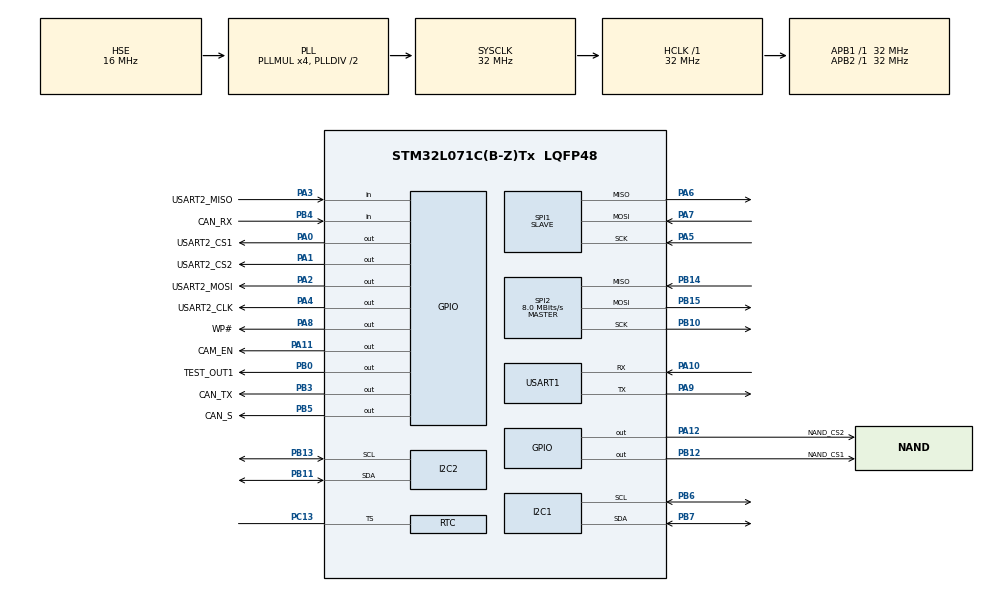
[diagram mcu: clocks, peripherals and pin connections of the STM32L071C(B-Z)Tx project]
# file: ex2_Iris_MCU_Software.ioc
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I2C1.Timing=0x00707CBB
I2C2.Timing=0x00707CBB
Mcu.Family=STM32L0
Mcu.Name=STM32L071C(B-Z)Tx
Mcu.Package=LQFP48
NVIC.RTC_IRQn=true\:0\:0\:false\:false\:true\:true\:true\:true
NVIC.SPI1_IRQn=true\:0\:0\:false\:false\:true\:true\:true\:true
PA0.GPIO_Label=USART2_CS1
PA0.GPIO_ModeDefaultOutputPP=GPIO_MODE_OUTPUT_PP
PA0.GPIO_PuPd=GPIO_PULLUP
PA0.GPIO_Speed=GPIO_SPEED_FREQ_VERY_HIGH
PA0.Signal=GPIO_Output
PA1.GPIO_Label=USART2_CS2
PA1.GPIO_ModeDefaultOutputPP=GPIO_MODE_OUTPUT_PP
PA1.GPIO_PuPd=GPIO_PULLUP
PA1.GPIO_Speed=GPIO_SPEED_FREQ_VERY_HIGH
PA1.Signal=GPIO_Output
PA10.Mode=Asynchronous
PA10.Signal=USART1_RX
PA11.GPIO_Label=CAM_EN
PA11.Signal=GPIO_Output
PA12.GPIO_Label=NAND_CS2
PA12.GPIO_ModeDefaultOutputPP=GPIO_MODE_OUTPUT_PP
PA12.GPIO_PuPd=GPIO_PULLUP
PA12.Signal=GPIO_Output
PA13.Mode=Serial_Wire
PA13.Signal=SYS_SWDIO
PA14.Mode=Serial_Wire
PA14.Signal=SYS_SWCLK
PA15.Signal=SPI1_NSS
PA2.GPIO_Label=USART2_MOSI
PA2.GPIO_ModeDefaultOutputPP=GPIO_MODE_OUTPUT_PP
PA2.GPIO_Speed=GPIO_SPEED_FREQ_VERY_HIGH
PA2.Signal=GPIO_Output
PA3.GPIO_Label=USART2_MISO
PA3.Signal=GPIO_Input
PA4.GPIO_Label=USART2_CLK
PA4.GPIO_ModeDefaultOutputPP=GPIO_MODE_OUTPUT_PP
PA4.GPIO_Speed=GPIO_SPEED_FREQ_VERY_HIGH
PA4.Signal=GPIO_Output
PA5.Mode=Full_Duplex_Slave
PA5.Signal=SPI1_SCK
PA6.Mode=Full_Duplex_Slave
PA6.Signal=SPI1_MISO
PA7.Mode=Full_Duplex_Slave
PA7.Signal=SPI1_MOSI
PA8.GPIO_Label=WP\#
PA8.GPIO_PuPd=GPIO_PULLUP
PA8.GPIO_Speed=GPIO_SPEED_FREQ_VERY_HIGH
PA8.Signal=GPIO_Output
PA9.Mode=Asynchronous
PA9.Signal=USART1_TX
PB0.GPIO_Label=TEST_OUT1
PB0.Signal=GPIO_Output
PB10.Mode=Full_Duplex_Master
PB10.Signal=SPI2_SCK
PB11.Mode=I2C
PB11.Signal=I2C2_SDA
PB12.GPIO_Label=NAND_CS1
PB12.GPIO_ModeDefaultOutputPP=GPIO_MODE_OUTPUT_PP
PB12.GPIO_PuPd=GPIO_PULLUP
PB12.Signal=GPIO_Output
PB13.Mode=I2C
PB13.Signal=I2C2_SCL
PB14.Mode=Full_Duplex_Master
PB14.Signal=SPI2_MISO
PB15.Mode=Full_Duplex_Master
PB15.Signal=SPI2_MOSI
PB3.GPIO_Label=CAN_TX
PB3.GPIO_PuPd=GPIO_PULLUP
PB3.GPIO_Speed=GPIO_SPEED_FREQ_VERY_HIGH
PB3.Signal=GPIO_Output
PB4.GPIO_Label=CAN_RX
PB4.Signal=GPIO_Input
PB5.GPIO_Label=CAN_S
PB5.Signal=GPIO_Output
PB6.Mode=I2C
PB6.Signal=I2C1_SCL
PB7.Mode=I2C
PB7.Signal=I2C1_SDA
PC13.Mode=Timestamp enabled
PC13.Signal=RTC_TS
PC14-OSC32_IN.Mode=LSE-External-Oscillator
PC14-OSC32_IN.Signal=RCC_OSC32_IN
PC15-OSC32_OUT.Mode=LSE-External-Oscillator
PC15-OSC32_OUT.Signal=RCC_OSC32_OUT
PH0-OSC_IN.Mode=HSE-External-Clock-Source
PH0-OSC_IN.Signal=RCC_OSC_IN
ProjectManager.HeapSize=0x200
ProjectManager.StackSize=0x400
ProjectManager.TargetToolchain=STM32CubeIDE
RCC.AHBFreq_Value=32000000
RCC.APB1Freq_Value=32000000
RCC.APB1TimFreq_Value=32000000
RCC.APB2Freq_Value=32000000
RCC.APB2TimFreq_Value=32000000
RCC.HCLKFreq_Value=32000000
RCC.HSE_VALUE=16000000
RCC.HSI16_VALUE=16000000
RCC.HSI_VALUE=16000000
RCC.MSI_VALUE=2097000
RCC.PLLMUL=RCC_PLLMUL_4
RCC.PLLSourceVirtual=RCC_PLLSOURCE_HSE
RCC.SYSCLKFreq_VALUE=32000000
RCC.SYSCLKSource=RCC_SYSCLKSOURCE_PLLCLK
RCC.VCOOutputFreq_Value=64000000
SPI1.CLKPhase=SPI_PHASE_2EDGE
SPI1.Direction=SPI_DIRECTION_2LINES
SPI1.Mode=SPI_MODE_SLAVE
SPI1.VirtualType=VM_SLAVE
SPI2.BaudRatePrescaler=SPI_BAUDRATEPRESCALER_4
SPI2.CalculateBaudRate=8.0 MBits/s
SPI2.Direction=SPI_DIRECTION_2LINES
SPI2.Mode=SPI_MODE_MASTER
SPI2.VirtualType=VM_MASTER
TIM2.Prescaler=0
USART1.VirtualMode-Asynchronous=VM_ASYNC
VP_CRC_VS_CRC.Mode=CRC_Activate
VP_RTC_VS_RTC_Activate.Mode=RTC_Enabled
VP_RTC_VS_RTC_Calendar.Mode=RTC_Calendar
VP_TIM2_VS_ClockSourceINT.Mode=Internal
VP_TIM3_VS_ClockSourceINT.Mode=Internal
board=custom

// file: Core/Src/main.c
/* USER CODE BEGIN Header */
/**
 ******************************************************************************
 * @file           : main.c
 * @brief          : Main program body
 ******************************************************************************
 * @attention
 *
 * Copyright (c) 2022 STMicroelectronics.
 * All rights reserved.
 *
 * This software is licensed under terms that can be found in the LICENSE file
 * in the root directory of this software component.
 * If no LICENSE file comes with this software, it is provided AS-IS.
 *
 ******************************************************************************
 */

/* USER CODE END Header */
#include "main.h"

/* USER CODE BEGIN Includes */
#include <stdio.h>
#include <stdbool.h>
#include <string.h>

#include "iris_system.h"
#include "arducam.h"
#include "spi_bitbang.h"
#include "IEB_TESTS.h"
#include "nandfs.h"
#include "flash_cmds.h"
#include "can.h"
#include "obc_handler.h"
#include "command_handler.h"
#include "housekeeping.h"
#include "tmp421.h"
#include "microtar.h"
#include "spi_obc.h"
#include "logger.h"

/* USER CODE END Includes */

/* USER CODE BEGIN PD */

int format = JPEG;
int width = 2592;

/* USER CODE END PD */

 CRC_HandleTypeDef hcrc;

I2C_HandleTypeDef hi2c1;
I2C_HandleTypeDef hi2c2;

RTC_HandleTypeDef hrtc;

SPI_HandleTypeDef hspi1;
SPI_HandleTypeDef hspi2;

TIM_HandleTypeDef htim2;
TIM_HandleTypeDef htim3;

UART_HandleTypeDef huart1;

void SystemClock_Config(void);
static void MX_GPIO_Init(void);
static void MX_I2C1_Init(void);
static void MX_I2C2_Init(void);
static void MX_SPI1_Init(void);
static void MX_SPI2_Init(void);
static void MX_USART1_UART_Init(void);
static void MX_TIM2_Init(void);
static void MX_CRC_Init(void);
static void MX_RTC_Init(void);
static void MX_TIM3_Init(void);
/* USER CODE BEGIN PFP */
static void onboot_commands(void);
/* USER CODE END PFP */

/* USER CODE BEGIN 0 */

enum {
    IDLE,
    LISTENING,
    HANDLE_COMMAND,
    FINISH,
} iris_state;

enum {
    idle,
    receiving,
} uart_state;

uint8_t spi_int_flag = 0;
/* For future failure recovery mode */
uint8_t can_bus_receive_flag = 0; // Needs to be set in can RX callback
uint8_t i2c_bus_receive_flag = 0; // Needs to be set in i2c RX callback

uint8_t uart_state = receiving;
/* USER CODE END 0 */

int main(void)
{

  /* MCU Configuration--------------------------------------------------------*/

  /* Reset of all peripherals, Initializes the Flash interface and the Systick. */
  HAL_Init();

  /* Configure the system clock */
  SystemClock_Config();

  /* Initialize all configured peripherals */
  MX_GPIO_Init();
  MX_I2C1_Init();
  MX_I2C2_Init();
  MX_SPI1_Init();
  MX_SPI2_Init();
  MX_USART1_UART_Init();
  MX_TIM2_Init();
  MX_CRC_Init();
  MX_RTC_Init();
  MX_TIM3_Init();
  /* USER CODE BEGIN 2 */

    onboot_commands();
  /* USER CODE END 2 */

  /* Infinite loop */
  /* USER CODE BEGIN WHILE */

#ifdef SPI_HANDLER
    send_obc_reset_cmd_to_eps();//temp
    /******************************************************************************
     *                      		SPI HANDLER
     *****************************************************************************/
    uint8_t obc_cmd;
    iris_state = LISTENING;
    int ret = 0;

    while (1) {
    /* USER CODE END WHILE */

    /* USER CODE BEGIN 3 */
    	check_obc_watchdog();
        switch (iris_state) {
        case IDLE:
            if (spi_int_flag != 0) {
                iris_state = HANDLE_COMMAND;
                spi_int_flag = 0;
            } else if (can_bus_receive_flag != 0) {
                // Placeholder for future failure mode recovery
            } else if (i2c_bus_receive_flag != 0) {
                // Placeholder for future failure mode recovery
            }
            break;
        case LISTENING:
            iris_state = IDLE;
            obc_spi_receive(&obc_cmd, 1);
            break;
        case HANDLE_COMMAND:
            ret = obc_verify_command(obc_cmd);
            if (ret != -1) {
                ret = obc_handle_command(obc_cmd);
            }
            iris_state = FINISH;
            break;
        case FINISH:
            iris_state = LISTENING;
            break;
        }
    }
#endif // SPI_HANDLER

/******************************************************************************
 *                      		UART HANDLER
 *****************************************************************************/
#ifdef UART_HANDLER
    char cmd[64];
    char buf[64];
    char *ptr = cmd;
    int ret = 0;

    uart_state = idle;
    while (1) {
        switch (uart_state) {
        case idle:
            iris_log("\r:>> ");
            uart_state = receiving;
            break;
        case receiving:;
            HAL_StatusTypeDef rc = HAL_UART_Receive(&huart1, (uint8_t *)ptr, 1, 20000);
            /* USER CODE END WHILE */

            /* USER CODE BEGIN 3 */
            /* Build up the command one byte at a time */
            if (rc != HAL_OK) {
                if (rc != HAL_TIMEOUT) {
                    sprintf(buf, "UART read error: %x\r\n", rc);
                    iris_log(buf);
                }
                continue;
            }
            /* Command is complete when we get EOL of some sort */
            if (*ptr == '\n' || *ptr == '\r') {
                *ptr = 0;
                iris_log("\r\n");
                uart_handle_command(cmd);
                ptr = cmd;
                uart_state = idle;

            } else {
                *(ptr + 1) = 0;
                iris_log(ptr);

                if (*ptr == 0x7f) { // handle backspace
                    if (ptr > cmd)
                        --ptr;
                } else
                    ++ptr;
            }
            break;
        }
    }
#endif // UART_HANDLER
  /* USER CODE END 3 */
}

void SystemClock_Config(void)
{
  RCC_OscInitTypeDef RCC_OscInitStruct = {0};
  RCC_ClkInitTypeDef RCC_ClkInitStruct = {0};
  RCC_PeriphCLKInitTypeDef PeriphClkInit = {0};

  /** Configure the main internal regulator output voltage
  */
  __HAL_PWR_VOLTAGESCALING_CONFIG(PWR_REGULATOR_VOLTAGE_SCALE1);

  /** Initializes the RCC Oscillators according to the specified parameters
  * in the RCC_OscInitTypeDef structure.
  */
  RCC_OscInitStruct.OscillatorType = RCC_OSCILLATORTYPE_LSI|RCC_OSCILLATORTYPE_HSE;
  RCC_OscInitStruct.HSEState = RCC_HSE_BYPASS;
  RCC_OscInitStruct.LSIState = RCC_LSI_ON;
  RCC_OscInitStruct.PLL.PLLState = RCC_PLL_ON;
  RCC_OscInitStruct.PLL.PLLSource = RCC_PLLSOURCE_HSE;
  RCC_OscInitStruct.PLL.PLLMUL = RCC_PLLMUL_4;
  RCC_OscInitStruct.PLL.PLLDIV = RCC_PLLDIV_2;
  if (HAL_RCC_OscConfig(&RCC_OscInitStruct) != HAL_OK)
  {
    Error_Handler();
  }

  /** Initializes the CPU, AHB and APB buses clocks
  */
  RCC_ClkInitStruct.ClockType = RCC_CLOCKTYPE_HCLK|RCC_CLOCKTYPE_SYSCLK
                              |RCC_CLOCKTYPE_PCLK1|RCC_CLOCKTYPE_PCLK2;
  RCC_ClkInitStruct.SYSCLKSource = RCC_SYSCLKSOURCE_PLLCLK;
  RCC_ClkInitStruct.AHBCLKDivider = RCC_SYSCLK_DIV1;
  RCC_ClkInitStruct.APB1CLKDivider = RCC_HCLK_DIV1;
  RCC_ClkInitStruct.APB2CLKDivider = RCC_HCLK_DIV1;

  if (HAL_RCC_ClockConfig(&RCC_ClkInitStruct, FLASH_LATENCY_1) != HAL_OK)
  {
    Error_Handler();
  }
  PeriphClkInit.PeriphClockSelection = RCC_PERIPHCLK_USART1|RCC_PERIPHCLK_I2C1
                              |RCC_PERIPHCLK_RTC;
  PeriphClkInit.Usart1ClockSelection = RCC_USART1CLKSOURCE_PCLK2;
  PeriphClkInit.I2c1ClockSelection = RCC_I2C1CLKSOURCE_PCLK1;
  PeriphClkInit.RTCClockSelection = RCC_RTCCLKSOURCE_LSI;
  if (HAL_RCCEx_PeriphCLKConfig(&PeriphClkInit) != HAL_OK)
  {
    Error_Handler();
  }
}

static void MX_CRC_Init(void)
{

  hcrc.Instance = CRC;
  hcrc.Init.DefaultPolynomialUse = DEFAULT_POLYNOMIAL_ENABLE;
  hcrc.Init.DefaultInitValueUse = DEFAULT_INIT_VALUE_ENABLE;
  hcrc.Init.InputDataInversionMode = CRC_INPUTDATA_INVERSION_NONE;
  hcrc.Init.OutputDataInversionMode = CRC_OUTPUTDATA_INVERSION_DISABLE;
  hcrc.InputDataFormat = CRC_INPUTDATA_FORMAT_BYTES;
  if (HAL_CRC_Init(&hcrc) != HAL_OK)
  {
    Error_Handler();
  }

}

static void MX_I2C1_Init(void)
{

  hi2c1.Instance = I2C1;
  hi2c1.Init.Timing = 0x00707CBB;
  hi2c1.Init.OwnAddress1 = 0;
  hi2c1.Init.AddressingMode = I2C_ADDRESSINGMODE_7BIT;
  hi2c1.Init.DualAddressMode = I2C_DUALADDRESS_DISABLE;
  hi2c1.Init.OwnAddress2 = 0;
  hi2c1.Init.OwnAddress2Masks = I2C_OA2_NOMASK;
  hi2c1.Init.GeneralCallMode = I2C_GENERALCALL_DISABLE;
  hi2c1.Init.NoStretchMode = I2C_NOSTRETCH_DISABLE;
  if (HAL_I2C_Init(&hi2c1) != HAL_OK)
  {
    Error_Handler();
  }

  /** Configure Analogue filter
  */
  if (HAL_I2CEx_ConfigAnalogFilter(&hi2c1, I2C_ANALOGFILTER_ENABLE) != HAL_OK)
  {
    Error_Handler();
  }

  /** Configure Digital filter
  */
  if (HAL_I2CEx_ConfigDigitalFilter(&hi2c1, 0) != HAL_OK)
  {
    Error_Handler();
  }

}

static void MX_I2C2_Init(void)
{

  hi2c2.Instance = I2C2;
  hi2c2.Init.Timing = 0x00707CBB;
  hi2c2.Init.OwnAddress1 = 0;
  hi2c2.Init.AddressingMode = I2C_ADDRESSINGMODE_7BIT;
  hi2c2.Init.DualAddressMode = I2C_DUALADDRESS_DISABLE;
  hi2c2.Init.OwnAddress2 = 0;
  hi2c2.Init.OwnAddress2Masks = I2C_OA2_NOMASK;
  hi2c2.Init.GeneralCallMode = I2C_GENERALCALL_DISABLE;
  hi2c2.Init.NoStretchMode = I2C_NOSTRETCH_DISABLE;
  if (HAL_I2C_Init(&hi2c2) != HAL_OK)
  {
    Error_Handler();
  }

  /** Configure Analogue filter
  */
  if (HAL_I2CEx_ConfigAnalogFilter(&hi2c2, I2C_ANALOGFILTER_ENABLE) != HAL_OK)
  {
    Error_Handler();
  }

  /** Configure Digital filter
  */
  if (HAL_I2CEx_ConfigDigitalFilter(&hi2c2, 0) != HAL_OK)
  {
    Error_Handler();
  }

}

static void MX_RTC_Init(void)
{

  RTC_TimeTypeDef sTime = {0};
  RTC_DateTypeDef sDate = {0};

  /** Initialize RTC Only
  */
  hrtc.Instance = RTC;
  hrtc.Init.HourFormat = RTC_HOURFORMAT_24;
  hrtc.Init.AsynchPrediv = 127;
  hrtc.Init.SynchPrediv = 255;
  hrtc.Init.OutPut = RTC_OUTPUT_DISABLE;
  hrtc.Init.OutPutRemap = RTC_OUTPUT_REMAP_NONE;
  hrtc.Init.OutPutPolarity = RTC_OUTPUT_POLARITY_HIGH;
  hrtc.Init.OutPutType = RTC_OUTPUT_TYPE_OPENDRAIN;
  if (HAL_RTC_Init(&hrtc) != HAL_OK)
  {
    Error_Handler();
  }

  /** Initialize RTC and set the Time and Date
  */
  sTime.Hours = 0x0;
  sTime.Minutes = 0x0;
  sTime.Seconds = 0x0;
  sTime.DayLightSaving = RTC_DAYLIGHTSAVING_NONE;
  sTime.StoreOperation = RTC_STOREOPERATION_RESET;
  if (HAL_RTC_SetTime(&hrtc, &sTime, RTC_FORMAT_BCD) != HAL_OK)
  {
    Error_Handler();
  }
  sDate.WeekDay = RTC_WEEKDAY_MONDAY;
  sDate.Month = RTC_MONTH_JANUARY;
  sDate.Date = 0x1;
  sDate.Year = 0x0;

  if (HAL_RTC_SetDate(&hrtc, &sDate, RTC_FORMAT_BCD) != HAL_OK)
  {
    Error_Handler();
  }

  /** Enable the TimeStamp
  */
  if (HAL_RTCEx_SetTimeStamp_IT(&hrtc, RTC_TIMESTAMPEDGE_RISING, RTC_TIMESTAMPPIN_DEFAULT) != HAL_OK)
  {
    Error_Handler();
  }

}

static void MX_SPI1_Init(void)
{

  /* SPI1 parameter configuration*/
  hspi1.Instance = SPI1;
  hspi1.Init.Mode = SPI_MODE_SLAVE;
  hspi1.Init.Direction = SPI_DIRECTION_2LINES;
  hspi1.Init.DataSize = SPI_DATASIZE_8BIT;
  hspi1.Init.CLKPolarity = SPI_POLARITY_LOW;
  hspi1.Init.CLKPhase = SPI_PHASE_2EDGE;
  hspi1.Init.NSS = SPI_NSS_SOFT;
  hspi1.Init.FirstBit = SPI_FIRSTBIT_MSB;
  hspi1.Init.TIMode = SPI_TIMODE_DISABLE;
  hspi1.Init.CRCCalculation = SPI_CRCCALCULATION_DISABLE;
  hspi1.Init.CRCPolynomial = 7;
  if (HAL_SPI_Init(&hspi1) != HAL_OK)
  {
    Error_Handler();
  }

}

static void MX_SPI2_Init(void)
{

  /* SPI2 parameter configuration*/
  hspi2.Instance = SPI2;
  hspi2.Init.Mode = SPI_MODE_MASTER;
  hspi2.Init.Direction = SPI_DIRECTION_2LINES;
  hspi2.Init.DataSize = SPI_DATASIZE_8BIT;
  hspi2.Init.CLKPolarity = SPI_POLARITY_LOW;
  hspi2.Init.CLKPhase = SPI_PHASE_1EDGE;
  hspi2.Init.NSS = SPI_NSS_SOFT;
  hspi2.Init.BaudRatePrescaler = SPI_BAUDRATEPRESCALER_4;
  hspi2.Init.FirstBit = SPI_FIRSTBIT_MSB;
  hspi2.Init.TIMode = SPI_TIMODE_DISABLE;
  hspi2.Init.CRCCalculation = SPI_CRCCALCULATION_DISABLE;
  hspi2.Init.CRCPolynomial = 7;
  if (HAL_SPI_Init(&hspi2) != HAL_OK)
  {
    Error_Handler();
  }

}

static void MX_TIM2_Init(void)
{

  TIM_ClockConfigTypeDef sClockSourceConfig = {0};
  TIM_MasterConfigTypeDef sMasterConfig = {0};

  htim2.Instance = TIM2;
  htim2.Init.Prescaler = 0;
  htim2.Init.CounterMode = TIM_COUNTERMODE_UP;
  htim2.Init.Period = 65535;
  htim2.Init.ClockDivision = TIM_CLOCKDIVISION_DIV1;
  htim2.Init.AutoReloadPreload = TIM_AUTORELOAD_PRELOAD_DISABLE;
  if (HAL_TIM_Base_Init(&htim2) != HAL_OK)
  {
    Error_Handler();
  }
  sClockSourceConfig.ClockSource = TIM_CLOCKSOURCE_INTERNAL;
  if (HAL_TIM_ConfigClockSource(&htim2, &sClockSourceConfig) != HAL_OK)
  {
    Error_Handler();
  }
  sMasterConfig.MasterOutputTrigger = TIM_TRGO_RESET;
  sMasterConfig.MasterSlaveMode = TIM_MASTERSLAVEMODE_DISABLE;
  if (HAL_TIMEx_MasterConfigSynchronization(&htim2, &sMasterConfig) != HAL_OK)
  {
    Error_Handler();
  }

}

static void MX_TIM3_Init(void)
{

  TIM_ClockConfigTypeDef sClockSourceConfig = {0};
  TIM_MasterConfigTypeDef sMasterConfig = {0};

  htim3.Instance = TIM3;
  htim3.Init.Prescaler = 0;
  htim3.Init.CounterMode = TIM_COUNTERMODE_UP;
  htim3.Init.Period = 65535;
  htim3.Init.ClockDivision = TIM_CLOCKDIVISION_DIV1;
  htim3.Init.AutoReloadPreload = TIM_AUTORELOAD_PRELOAD_DISABLE;
  if (HAL_TIM_Base_Init(&htim3) != HAL_OK)
  {
    Error_Handler();
  }
  sClockSourceConfig.ClockSource = TIM_CLOCKSOURCE_INTERNAL;
  if (HAL_TIM_ConfigClockSource(&htim3, &sClockSourceConfig) != HAL_OK)
  {
    Error_Handler();
  }
  sMasterConfig.MasterOutputTrigger = TIM_TRGO_RESET;
  sMasterConfig.MasterSlaveMode = TIM_MASTERSLAVEMODE_DISABLE;
  if (HAL_TIMEx_MasterConfigSynchronization(&htim3, &sMasterConfig) != HAL_OK)
  {
    Error_Handler();
  }

}

static void MX_USART1_UART_Init(void)
{

  huart1.Instance = USART1;
  huart1.Init.BaudRate = 115200;
  huart1.Init.WordLength = UART_WORDLENGTH_8B;
  huart1.Init.StopBits = UART_STOPBITS_1;
  huart1.Init.Parity = UART_PARITY_NONE;
  huart1.Init.Mode = UART_MODE_TX_RX;
  huart1.Init.HwFlowCtl = UART_HWCONTROL_NONE;
  huart1.Init.OverSampling = UART_OVERSAMPLING_16;
  huart1.Init.OneBitSampling = UART_ONE_BIT_SAMPLE_DISABLE;
  huart1.AdvancedInit.AdvFeatureInit = UART_ADVFEATURE_NO_INIT;
  if (HAL_UART_Init(&huart1) != HAL_OK)
  {
    Error_Handler();
  }

}

static void MX_GPIO_Init(void)
{
  GPIO_InitTypeDef GPIO_InitStruct = {0};

  /* GPIO Ports Clock Enable */
  __HAL_RCC_GPIOC_CLK_ENABLE();
  __HAL_RCC_GPIOH_CLK_ENABLE();
  __HAL_RCC_GPIOA_CLK_ENABLE();
  __HAL_RCC_GPIOB_CLK_ENABLE();

  /*Configure GPIO pin Output Level */
  HAL_GPIO_WritePin(GPIOA, USART2_CS1_Pin|USART2_CS2_Pin|USART2_MOSI_Pin|USART2_CLK_Pin
                          |WP__Pin|CAM_EN_Pin|NAND_CS2_Pin, GPIO_PIN_RESET);

  /*Configure GPIO pin Output Level */
  HAL_GPIO_WritePin(GPIOB, TEST_OUT1_Pin|NAND_CS1_Pin|CAN_TX_Pin|CAN_S_Pin, GPIO_PIN_RESET);

  /*Configure GPIO pins : USART2_CS1_Pin USART2_CS2_Pin WP__Pin */
  GPIO_InitStruct.Pin = USART2_CS1_Pin|USART2_CS2_Pin|WP__Pin;
  GPIO_InitStruct.Mode = GPIO_MODE_OUTPUT_PP;
  GPIO_InitStruct.Pull = GPIO_PULLUP;
  GPIO_InitStruct.Speed = GPIO_SPEED_FREQ_VERY_HIGH;
  HAL_GPIO_Init(GPIOA, &GPIO_InitStruct);

  /*Configure GPIO pins : USART2_MOSI_Pin USART2_CLK_Pin */
  GPIO_InitStruct.Pin = USART2_MOSI_Pin|USART2_CLK_Pin;
  GPIO_InitStruct.Mode = GPIO_MODE_OUTPUT_PP;
  GPIO_InitStruct.Pull = GPIO_NOPULL;
  GPIO_InitStruct.Speed = GPIO_SPEED_FREQ_VERY_HIGH;
  HAL_GPIO_Init(GPIOA, &GPIO_InitStruct);

  /*Configure GPIO pin : USART2_MISO_Pin */
  GPIO_InitStruct.Pin = USART2_MISO_Pin;
  GPIO_InitStruct.Mode = GPIO_MODE_INPUT;
  GPIO_InitStruct.Pull = GPIO_NOPULL;
  HAL_GPIO_Init(USART2_MISO_GPIO_Port, &GPIO_InitStruct);

  /*Configure GPIO pins : TEST_OUT1_Pin CAN_S_Pin */
  GPIO_InitStruct.Pin = TEST_OUT1_Pin|CAN_S_Pin;
  GPIO_InitStruct.Mode = GPIO_MODE_OUTPUT_PP;
  GPIO_InitStruct.Pull = GPIO_NOPULL;
  GPIO_InitStruct.Speed = GPIO_SPEED_FREQ_LOW;
  HAL_GPIO_Init(GPIOB, &GPIO_InitStruct);

  /*Configure GPIO pin : NAND_CS1_Pin */
  GPIO_InitStruct.Pin = NAND_CS1_Pin;
  GPIO_InitStruct.Mode = GPIO_MODE_OUTPUT_PP;
  GPIO_InitStruct.Pull = GPIO_PULLUP;
  GPIO_InitStruct.Speed = GPIO_SPEED_FREQ_LOW;
  HAL_GPIO_Init(NAND_CS1_GPIO_Port, &GPIO_InitStruct);

  /*Configure GPIO pin : CAM_EN_Pin */
  GPIO_InitStruct.Pin = CAM_EN_Pin;
  GPIO_InitStruct.Mode = GPIO_MODE_OUTPUT_PP;
  GPIO_InitStruct.Pull = GPIO_NOPULL;
  GPIO_InitStruct.Speed = GPIO_SPEED_FREQ_LOW;
  HAL_GPIO_Init(CAM_EN_GPIO_Port, &GPIO_InitStruct);

  /*Configure GPIO pin : NAND_CS2_Pin */
  GPIO_InitStruct.Pin = NAND_CS2_Pin;
  GPIO_InitStruct.Mode = GPIO_MODE_OUTPUT_PP;
  GPIO_InitStruct.Pull = GPIO_PULLUP;
  GPIO_InitStruct.Speed = GPIO_SPEED_FREQ_LOW;
  HAL_GPIO_Init(NAND_CS2_GPIO_Port, &GPIO_InitStruct);

  /*Configure GPIO pin : CAN_TX_Pin */
  GPIO_InitStruct.Pin = CAN_TX_Pin;
  GPIO_InitStruct.Mode = GPIO_MODE_OUTPUT_PP;
  GPIO_InitStruct.Pull = GPIO_PULLUP;
  GPIO_InitStruct.Speed = GPIO_SPEED_FREQ_VERY_HIGH;
  HAL_GPIO_Init(CAN_TX_GPIO_Port, &GPIO_InitStruct);

  /*Configure GPIO pin : CAN_RX_Pin */
  GPIO_InitStruct.Pin = CAN_RX_Pin;
  GPIO_InitStruct.Mode = GPIO_MODE_INPUT;
  GPIO_InitStruct.Pull = GPIO_NOPULL;
  HAL_GPIO_Init(CAN_RX_GPIO_Port, &GPIO_InitStruct);

}

/* USER CODE BEGIN 4 */
void HAL_SPI_RxCpltCallback(SPI_HandleTypeDef *hspi) {
    // Flag is set whenever OBC wants to communicate
    if (iris_state != HANDLE_COMMAND) {
        spi_int_flag = 1;
    } else {
        spi_int_flag = 0;
    }
}

static void init_filesystem() {
    iris_log("Initializing file system\r\n");
    NAND_SPI_Init(&hspi2);
    NANDfs_init();

    logger_create();
    store_file_infos_in_buffer();
}

static void onboot_commands(void) {

#ifdef SPI_HANDLER
#ifndef DEBUG_OUTPUT
    GPIO_InitTypeDef GPIO_InitStruct = {0};
    /*Configure GPIO pin */
    GPIO_InitStruct.Pin = ERR_Pin;
    GPIO_InitStruct.Mode = GPIO_MODE_OUTPUT_PP;
    GPIO_InitStruct.Pull = GPIO_PULLDOWN;
    GPIO_InitStruct.Speed = GPIO_SPEED_FREQ_LOW;
    HAL_GPIO_Init(ERR_GPIO_Port, &GPIO_InitStruct);
    ERR_GPIO_Port->BSRR = ERR_Pin;

    GPIO_InitStruct.Pin = WDI_Pin;
    GPIO_InitStruct.Mode = GPIO_MODE_INPUT;
    GPIO_InitStruct.Pull = GPIO_NOPULL;
    GPIO_InitStruct.Speed = GPIO_SPEED_FREQ_LOW;
    HAL_GPIO_Init(ERR_GPIO_Port, &GPIO_InitStruct);
    ERR_GPIO_Port->BSRR = WDI_Pin;

#endif
#endif

    HAL_TIM_Base_Start(&htim2);
    HAL_TIM_Base_Start(&htim3);
	__HAL_TIM_SET_COUNTER(&htim3, 0);

    init_filesystem();

#ifdef CURRENTSENSE_5V
    init_ina209(CURRENTSENSE_5V);
#endif // CURRENTSENSE_5V
    // init_ina209(CURRENTSENSE_5V);

    HAL_Delay(500);
    flood_cam_spi();

#ifdef DEBUG_OUTPUT
#ifdef UART_HANDLER
    iris_log("-----------------------------------\r\n");
    iris_log("Iris Electronics Test Software\r\n"
             "         UART Edition         \r\n");
    iris_log("-----------------------------------\r\n");
#endif
#ifdef SPI_HANDLER
    iris_log("-----------------------------------\r\n");
    iris_log("Iris Electronics Test Software\r\n"
             "        SPI Edition         \r\n");
    iris_log("-----------------------------------\r\n");
#endif
#endif
    iris_log("Iris initialized and ready!");
}
/* USER CODE END 4 */

void Error_Handler(void)
{
  /* USER CODE BEGIN Error_Handler_Debug */
    /* User can add his own implementation to report the HAL error return uart_state */
    __disable_irq();
    ERR_GPIO_Port->BRR = ERR_Pin; // toggle error pin low
    while (1) {
    }
  /* USER CODE END Error_Handler_Debug */
}
